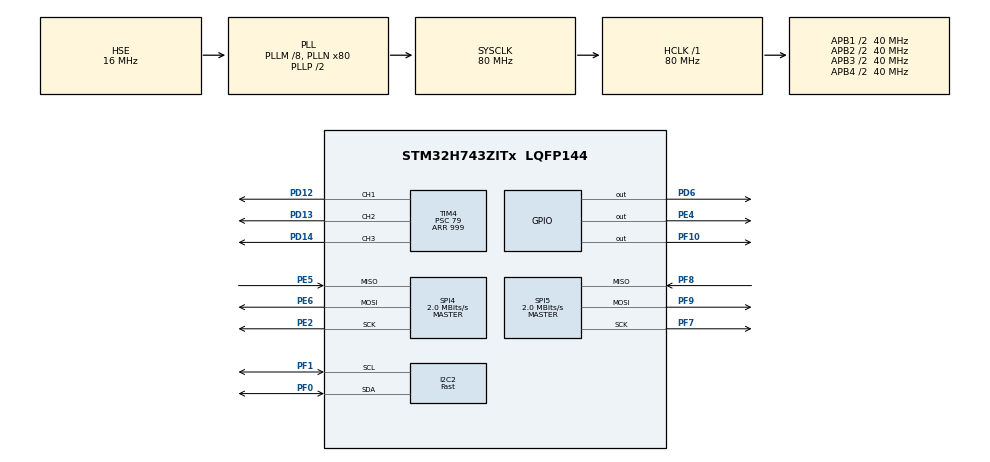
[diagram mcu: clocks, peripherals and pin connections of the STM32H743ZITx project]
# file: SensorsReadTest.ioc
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CORTEX_M7.default_mode_Activation=1
I2C2.I2C_Speed_Mode=I2C_Fast
I2C2.Timing=0x00000004
Mcu.Family=STM32H7
Mcu.Name=STM32H743ZITx
Mcu.Package=LQFP144
NVIC.PriorityGroup=NVIC_PRIORITYGROUP_4
PA13\ (JTMS/SWDIO).Mode=Trace_Asynchronous_SW
PA13\ (JTMS/SWDIO).Signal=DEBUG_JTMS-SWDIO
PA14\ (JTCK/SWCLK).Mode=Trace_Asynchronous_SW
PA14\ (JTCK/SWCLK).Signal=DEBUG_JTCK-SWCLK
PB3\ (JTDO/TRACESWO).Mode=Trace_Asynchronous_SW
PB3\ (JTDO/TRACESWO).Signal=DEBUG_JTDO-SWO
PD12.Signal=S_TIM4_CH1
PD13.Signal=S_TIM4_CH2
PD14.Signal=S_TIM4_CH3
PD6.Signal=GPIO_Output
PE2.Mode=Full_Duplex_Master
PE2.Signal=SPI4_SCK
PE4.GPIO_Speed=GPIO_SPEED_FREQ_MEDIUM
PE4.PinState=GPIO_PIN_SET
PE4.Signal=GPIO_Output
PE5.Mode=Full_Duplex_Master
PE5.Signal=SPI4_MISO
PE6.Mode=Full_Duplex_Master
PE6.Signal=SPI4_MOSI
PF0.GPIO_Speed=GPIO_SPEED_FREQ_VERY_HIGH
PF0.Mode=I2C
PF0.Signal=I2C2_SDA
PF1.GPIO_Speed=GPIO_SPEED_FREQ_VERY_HIGH
PF1.Mode=I2C
PF1.Signal=I2C2_SCL
PF10.GPIO_Speed=GPIO_SPEED_FREQ_MEDIUM
PF10.PinState=GPIO_PIN_SET
PF10.Signal=GPIO_Output
PF7.Mode=Full_Duplex_Master
PF7.Signal=SPI5_SCK
PF8.Mode=Full_Duplex_Master
PF8.Signal=SPI5_MISO
PF9.Mode=Full_Duplex_Master
PF9.Signal=SPI5_MOSI
PH0-OSC_IN\ (PH0).Mode=HSE-External-Oscillator
PH0-OSC_IN\ (PH0).Signal=RCC_OSC_IN
PH1-OSC_OUT\ (PH1).Mode=HSE-External-Oscillator
PH1-OSC_OUT\ (PH1).Signal=RCC_OSC_OUT
ProjectManager.HeapSize=0x200
ProjectManager.StackSize=0x400
ProjectManager.TargetToolchain=STM32CubeIDE
RCC.ADCFreq_Value=80000000
RCC.APB1Freq_Value=40000000
RCC.APB2Freq_Value=40000000
RCC.APB3Freq_Value=40000000
RCC.APB4Freq_Value=40000000
RCC.CortexFreq_Value=80000000
RCC.D1PPRE=RCC_APB3_DIV2
RCC.D2PPRE1=RCC_APB1_DIV2
RCC.D2PPRE2=RCC_APB2_DIV2
RCC.D3PPRE=RCC_APB4_DIV2
RCC.DIVM1=8
RCC.DIVM2=8
RCC.DIVM3=8
RCC.DIVN1=80
RCC.DIVN2=80
RCC.DIVN3=80
RCC.DIVQ2=40
RCC.DIVR3=40
RCC.HCLKFreq_Value=80000000
RCC.HSE_VALUE=16000000
RCC.I2C123CLockSelection=RCC_I2C123CLKSOURCE_PLL3
RCC.PLLSourceVirtual=RCC_PLLSOURCE_HSE
RCC.SYSCLKFreq_VALUE=80000000
RCC.SYSCLKSource=RCC_SYSCLKSOURCE_PLLCLK
RCC.Spi45ClockSelection=RCC_SPI45CLKSOURCE_PLL2
RCC.USBFreq_Value=80000000
SH.S_TIM4_CH1.0=TIM4_CH1,PWM Generation1 CH1
SH.S_TIM4_CH2.0=TIM4_CH2,PWM Generation2 CH2
SH.S_TIM4_CH3.0=TIM4_CH3,PWM Generation3 CH3
SPI4.CLKPhase=SPI_PHASE_2EDGE
SPI4.CLKPolarity=SPI_POLARITY_HIGH
SPI4.CalculateBaudRate=2.0 MBits/s
SPI4.DataSize=SPI_DATASIZE_8BIT
SPI4.Direction=SPI_DIRECTION_2LINES
SPI4.Mode=SPI_MODE_MASTER
SPI4.VirtualType=VM_MASTER
SPI5.CLKPhase=SPI_PHASE_1EDGE
SPI5.CLKPolarity=SPI_POLARITY_LOW
SPI5.CalculateBaudRate=2.0 MBits/s
SPI5.DataSize=SPI_DATASIZE_8BIT
SPI5.Direction=SPI_DIRECTION_2LINES
SPI5.Mode=SPI_MODE_MASTER
SPI5.VirtualType=VM_MASTER
TIM4.Channel-PWM\ Generation1\ CH1=TIM_CHANNEL_1
TIM4.Channel-PWM\ Generation2\ CH2=TIM_CHANNEL_2
TIM4.Channel-PWM\ Generation3\ CH3=TIM_CHANNEL_3
TIM4.OCMode_PWM-PWM\ Generation1\ CH1=TIM_OCMODE_PWM2
TIM4.OCMode_PWM-PWM\ Generation2\ CH2=TIM_OCMODE_PWM2
TIM4.OCMode_PWM-PWM\ Generation3\ CH3=TIM_OCMODE_PWM2
TIM4.Period=999
TIM4.Prescaler=79
VP_MEMORYMAP_VS_MEMORYMAP.Mode=CurAppReg
VP_TIM4_VS_ClockSourceINT.Mode=Internal
board=custom

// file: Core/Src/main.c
/* USER CODE BEGIN Header */
/**
  ******************************************************************************
  * @file           : main.c
  * @brief          : Main program body
  ******************************************************************************
  * @attention
  *
  * Copyright (c) 2026 STMicroelectronics.
  * All rights reserved.
  *
  * This software is licensed under terms that can be found in the LICENSE file
  * in the root directory of this software component.
  * If no LICENSE file comes with this software, it is provided AS-IS.
  *
  ******************************************************************************
  */
/* USER CODE END Header */
#include "main.h"

/* USER CODE BEGIN Includes */
#include <math.h>
#include <stdio.h>
#include "icm-40609-d.h"
#include "mmc5983ma.h"
#include "bmp388.h"

/* USER CODE END Includes */

I2C_HandleTypeDef hi2c2;

SPI_HandleTypeDef hspi4;
SPI_HandleTypeDef hspi5;

TIM_HandleTypeDef htim4;

/* USER CODE BEGIN PV */
// Define the imu wiring
ICM_Handle imu = {
    .hspi = &hspi5,
    .cs_port = GPIOF,
    .cs_pin = GPIO_PIN_10
};
ICM_Data imu_data; // Initialise the imu data struct
// Define the mag wiring
MMC5983_Handle mag = {
		.hspi = &hspi4,
		.cs_port = GPIOE,
		.cs_pin = GPIO_PIN_4
};
MMC5983_Data mag_data; // Initialise the mag data struct
// Define the bar wiring
BMP388_Handle bmp = {
    .hi2c     = &hi2c2,
    .dev_addr = BMP388_I2C_ADDR_SDO_HIGH,   /* SDO tied to VDDIO */
    .cfg = {
        .osr_p = BMP388_OSR_X8,
        .osr_t = BMP388_OSR_X1,
        .iir   = BMP388_IIR_3,    /* coeff 3 — good balance */
        .odr   = BMP388_ODR_25,   /* 25 Hz in normal mode   */
        .mode  = BMP388_MODE_NORMAL,
    },
};

/* USER CODE END PV */

void SystemClock_Config(void);
void PeriphCommonClock_Config(void);
static void MPU_Config(void);
static void MX_GPIO_Init(void);
static void MX_TIM4_Init(void);
static void MX_SPI5_Init(void);
static void MX_SPI4_Init(void);
static void MX_I2C2_Init(void);
/* USER CODE BEGIN PFP */

// RGB Led handling functions
void RGB_SetColor(uint16_t red, uint16_t green, uint16_t blue);
void RGB_Accel(ICM_Data *d);
void RGB_Gyro(ICM_Data *d);

/* USER CODE END PFP */

/* USER CODE BEGIN 0 */
// Reroute printf to ITM_SendChar to print variables through SWO (port 0)
int _write(int file, char *ptr, int len)
{
	for (int i = 0; i < len; i++)
	{
		ITM_SendChar(*ptr++);
	}
	return len;
}

// write to a defined ITM port
void ITM_PrintPort(uint8_t port, const char *str)
{
  if (((ITM->TCR & ITM_TCR_ITMENA_Msk) != 0UL) &&      /* ITM enabled */
      ((ITM->TER & (1UL << port)) != 0UL))              /* ITM Port #0 enabled */
  {
	  while (*str)
		  {
		    while (ITM->PORT[port].u32 == 0UL)
		    {
		      __NOP();
		    }
		    ITM->PORT[port].u8 = (uint8_t) *str++;
		  }
  }
}

/* USER CODE END 0 */

int main(void)
{

  /* MPU Configuration--------------------------------------------------------*/
  MPU_Config();

  /* MCU Configuration--------------------------------------------------------*/

  /* Reset of all peripherals, Initializes the Flash interface and the Systick. */
  HAL_Init();

  /* Configure the system clock */
  SystemClock_Config();

  /* Configure the peripherals common clocks */
  PeriphCommonClock_Config();

  /* Initialize all configured peripherals */
  MX_GPIO_Init();
  MX_TIM4_Init();
  MX_SPI5_Init();
  MX_SPI4_Init();
  MX_I2C2_Init();
  /* USER CODE BEGIN 2 */
  /*
  for (uint8_t addr = 1; addr < 128; addr++) {
        if (HAL_I2C_IsDeviceReady(&hi2c2, addr << 1, 2, 10) == HAL_OK)
            printf("[I2C SCAN] Device at 0x%02X\r\n", addr);
    }
*/
  // Initialize IMU
  if (icm_init(&imu) != ICM_OK) {
	  printf("[ICM-40609-D] INIT FAILED\r\n");
      HAL_GPIO_WritePin(GPIOD, GPIO_PIN_6, GPIO_PIN_SET);  // Turn on error LED
      Error_Handler();
  }
  // Initialize MAG
  if (!MMC5983_Init(&mag)) {
      printf("[MMC5983] INIT FAILED\r\n");
      HAL_GPIO_WritePin(GPIOD, GPIO_PIN_6, GPIO_PIN_SET);  // Turn on error LED
      Error_Handler();
  }
/*
  BMP388_Status st = BMP388_Init(&bmp);
    if (st != BMP388_OK) {
      uint32_t i2c_err = HAL_I2C_GetError(&hi2c2);
      printf("[BMP388] INIT FAILED status=%d i2c_err=0x%08lX\r\n", (int)st, i2c_err);
	  HAL_GPIO_WritePin(GPIOD, GPIO_PIN_6, GPIO_PIN_SET);  // Turn on error LED
	  Error_Handler();
  }
*/

  HAL_TIM_PWM_Start(&htim4, TIM_CHANNEL_1);  // Red
  HAL_TIM_PWM_Start(&htim4, TIM_CHANNEL_2);  // Green
  HAL_TIM_PWM_Start(&htim4, TIM_CHANNEL_3);  // Blue
  HAL_Delay(10);
  /* USER CODE END 2 */

  /* Infinite loop */
  /* USER CODE BEGIN WHILE */
  //char buf[32];

  while (1)
  {
    /* USER CODE END WHILE */

    /* USER CODE BEGIN 3 */
	icm_read_data(&imu, &imu_data);

	RGB_Accel(&imu_data);

	// Print on a port:
	//snprintf(buf, sizeof(buf), "ay: %d\r\n", imu_data.ay);
	//ITM_PrintPort(1, buf);

    //if (MMC5983_ReadData(&mag, &mag_data))
    //{
    //    printf("[MMC5983] X=%+7.3f G  Y=%+7.3f G  Z=%+7.3f G  T=%.1f C"
    //           "  (raw X=%lu Y=%lu Z=%lu)\r\n",
    //           mag_data.x_gauss, mag_data.y_gauss, mag_data.z_gauss,
	//		   mag_data.temp_celsius,
	//		   mag_data.raw_x,   mag_data.raw_y,   mag_data.raw_z);
	//
	//	/* ── Sanity checks ───────────────────────────────────────── */
        /* Earth's field is ~0.25–0.65 G.  Flag if totally out of range. */
    //  float magnitude = mag_data.x_gauss * mag_data.x_gauss
    //                  + mag_data.y_gauss * mag_data.y_gauss
    //                  + mag_data.z_gauss * mag_data.z_gauss;
        /* magnitude is |B|^2 here – sqrt not strictly needed for a range check */
    //  if (magnitude < 0.01f || magnitude > 1.0f) {
    //        printf("[MMC5983] WARNING: field magnitude out of expected range!\r\n");
    //    }
    //}
    //else
    //{
    //    printf("[MMC5983] Read error\r\n");
    //}

    HAL_Delay(10);

  }
  /* USER CODE END 3 */
}

void SystemClock_Config(void)
{
  RCC_OscInitTypeDef RCC_OscInitStruct = {0};
  RCC_ClkInitTypeDef RCC_ClkInitStruct = {0};

  /** Supply configuration update enable
  */
  HAL_PWREx_ConfigSupply(PWR_LDO_SUPPLY);

  /** Configure the main internal regulator output voltage
  */
  __HAL_PWR_VOLTAGESCALING_CONFIG(PWR_REGULATOR_VOLTAGE_SCALE3);

  while(!__HAL_PWR_GET_FLAG(PWR_FLAG_VOSRDY)) {}

  /** Initializes the RCC Oscillators according to the specified parameters
  * in the RCC_OscInitTypeDef structure.
  */
  RCC_OscInitStruct.OscillatorType = RCC_OSCILLATORTYPE_HSE;
  RCC_OscInitStruct.HSEState = RCC_HSE_ON;
  RCC_OscInitStruct.PLL.PLLState = RCC_PLL_ON;
  RCC_OscInitStruct.PLL.PLLSource = RCC_PLLSOURCE_HSE;
  RCC_OscInitStruct.PLL.PLLM = 8;
  RCC_OscInitStruct.PLL.PLLN = 80;
  RCC_OscInitStruct.PLL.PLLP = 2;
  RCC_OscInitStruct.PLL.PLLQ = 2;
  RCC_OscInitStruct.PLL.PLLR = 2;
  RCC_OscInitStruct.PLL.PLLRGE = RCC_PLL1VCIRANGE_1;
  RCC_OscInitStruct.PLL.PLLVCOSEL = RCC_PLL1VCOMEDIUM;
  RCC_OscInitStruct.PLL.PLLFRACN = 0;
  if (HAL_RCC_OscConfig(&RCC_OscInitStruct) != HAL_OK)
  {
    Error_Handler();
  }

  /** Initializes the CPU, AHB and APB buses clocks
  */
  RCC_ClkInitStruct.ClockType = RCC_CLOCKTYPE_HCLK|RCC_CLOCKTYPE_SYSCLK
                              |RCC_CLOCKTYPE_PCLK1|RCC_CLOCKTYPE_PCLK2
                              |RCC_CLOCKTYPE_D3PCLK1|RCC_CLOCKTYPE_D1PCLK1;
  RCC_ClkInitStruct.SYSCLKSource = RCC_SYSCLKSOURCE_PLLCLK;
  RCC_ClkInitStruct.SYSCLKDivider = RCC_SYSCLK_DIV1;
  RCC_ClkInitStruct.AHBCLKDivider = RCC_HCLK_DIV1;
  RCC_ClkInitStruct.APB3CLKDivider = RCC_APB3_DIV2;
  RCC_ClkInitStruct.APB1CLKDivider = RCC_APB1_DIV2;
  RCC_ClkInitStruct.APB2CLKDivider = RCC_APB2_DIV2;
  RCC_ClkInitStruct.APB4CLKDivider = RCC_APB4_DIV2;

  if (HAL_RCC_ClockConfig(&RCC_ClkInitStruct, FLASH_LATENCY_1) != HAL_OK)
  {
    Error_Handler();
  }
}

void PeriphCommonClock_Config(void)
{
  RCC_PeriphCLKInitTypeDef PeriphClkInitStruct = {0};

  /** Initializes the peripherals clock
  */
  PeriphClkInitStruct.PeriphClockSelection = RCC_PERIPHCLK_SPI4|RCC_PERIPHCLK_SPI5;
  PeriphClkInitStruct.PLL2.PLL2M = 8;
  PeriphClkInitStruct.PLL2.PLL2N = 80;
  PeriphClkInitStruct.PLL2.PLL2P = 2;
  PeriphClkInitStruct.PLL2.PLL2Q = 40;
  PeriphClkInitStruct.PLL2.PLL2R = 2;
  PeriphClkInitStruct.PLL2.PLL2RGE = RCC_PLL2VCIRANGE_1;
  PeriphClkInitStruct.PLL2.PLL2VCOSEL = RCC_PLL2VCOMEDIUM;
  PeriphClkInitStruct.PLL2.PLL2FRACN = 0;
  PeriphClkInitStruct.Spi45ClockSelection = RCC_SPI45CLKSOURCE_PLL2;
  if (HAL_RCCEx_PeriphCLKConfig(&PeriphClkInitStruct) != HAL_OK)
  {
    Error_Handler();
  }
}

static void MX_I2C2_Init(void)
{

  hi2c2.Instance = I2C2;
  hi2c2.Init.Timing = 0x00000004;
  hi2c2.Init.OwnAddress1 = 0;
  hi2c2.Init.AddressingMode = I2C_ADDRESSINGMODE_7BIT;
  hi2c2.Init.DualAddressMode = I2C_DUALADDRESS_DISABLE;
  hi2c2.Init.OwnAddress2 = 0;
  hi2c2.Init.OwnAddress2Masks = I2C_OA2_NOMASK;
  hi2c2.Init.GeneralCallMode = I2C_GENERALCALL_DISABLE;
  hi2c2.Init.NoStretchMode = I2C_NOSTRETCH_DISABLE;
  if (HAL_I2C_Init(&hi2c2) != HAL_OK)
  {
    Error_Handler();
  }

  /** Configure Analogue filter
  */
  if (HAL_I2CEx_ConfigAnalogFilter(&hi2c2, I2C_ANALOGFILTER_ENABLE) != HAL_OK)
  {
    Error_Handler();
  }

  /** Configure Digital filter
  */
  if (HAL_I2CEx_ConfigDigitalFilter(&hi2c2, 0) != HAL_OK)
  {
    Error_Handler();
  }

}

static void MX_SPI4_Init(void)
{

  /* SPI4 parameter configuration*/
  hspi4.Instance = SPI4;
  hspi4.Init.Mode = SPI_MODE_MASTER;
  hspi4.Init.Direction = SPI_DIRECTION_2LINES;
  hspi4.Init.DataSize = SPI_DATASIZE_8BIT;
  hspi4.Init.CLKPolarity = SPI_POLARITY_HIGH;
  hspi4.Init.CLKPhase = SPI_PHASE_2EDGE;
  hspi4.Init.NSS = SPI_NSS_SOFT;
  hspi4.Init.BaudRatePrescaler = SPI_BAUDRATEPRESCALER_2;
  hspi4.Init.FirstBit = SPI_FIRSTBIT_MSB;
  hspi4.Init.TIMode = SPI_TIMODE_DISABLE;
  hspi4.Init.CRCCalculation = SPI_CRCCALCULATION_DISABLE;
  hspi4.Init.CRCPolynomial = 0x0;
  hspi4.Init.NSSPMode = SPI_NSS_PULSE_ENABLE;
  hspi4.Init.NSSPolarity = SPI_NSS_POLARITY_LOW;
  hspi4.Init.FifoThreshold = SPI_FIFO_THRESHOLD_01DATA;
  hspi4.Init.TxCRCInitializationPattern = SPI_CRC_INITIALIZATION_ALL_ZERO_PATTERN;
  hspi4.Init.RxCRCInitializationPattern = SPI_CRC_INITIALIZATION_ALL_ZERO_PATTERN;
  hspi4.Init.MasterSSIdleness = SPI_MASTER_SS_IDLENESS_00CYCLE;
  hspi4.Init.MasterInterDataIdleness = SPI_MASTER_INTERDATA_IDLENESS_00CYCLE;
  hspi4.Init.MasterReceiverAutoSusp = SPI_MASTER_RX_AUTOSUSP_DISABLE;
  hspi4.Init.MasterKeepIOState = SPI_MASTER_KEEP_IO_STATE_DISABLE;
  hspi4.Init.IOSwap = SPI_IO_SWAP_DISABLE;
  if (HAL_SPI_Init(&hspi4) != HAL_OK)
  {
    Error_Handler();
  }

}

static void MX_SPI5_Init(void)
{

  /* SPI5 parameter configuration*/
  hspi5.Instance = SPI5;
  hspi5.Init.Mode = SPI_MODE_MASTER;
  hspi5.Init.Direction = SPI_DIRECTION_2LINES;
  hspi5.Init.DataSize = SPI_DATASIZE_8BIT;
  hspi5.Init.CLKPolarity = SPI_POLARITY_LOW;
  hspi5.Init.CLKPhase = SPI_PHASE_1EDGE;
  hspi5.Init.NSS = SPI_NSS_SOFT;
  hspi5.Init.BaudRatePrescaler = SPI_BAUDRATEPRESCALER_2;
  hspi5.Init.FirstBit = SPI_FIRSTBIT_MSB;
  hspi5.Init.TIMode = SPI_TIMODE_DISABLE;
  hspi5.Init.CRCCalculation = SPI_CRCCALCULATION_DISABLE;
  hspi5.Init.CRCPolynomial = 0x0;
  hspi5.Init.NSSPMode = SPI_NSS_PULSE_ENABLE;
  hspi5.Init.NSSPolarity = SPI_NSS_POLARITY_LOW;
  hspi5.Init.FifoThreshold = SPI_FIFO_THRESHOLD_01DATA;
  hspi5.Init.TxCRCInitializationPattern = SPI_CRC_INITIALIZATION_ALL_ZERO_PATTERN;
  hspi5.Init.RxCRCInitializationPattern = SPI_CRC_INITIALIZATION_ALL_ZERO_PATTERN;
  hspi5.Init.MasterSSIdleness = SPI_MASTER_SS_IDLENESS_00CYCLE;
  hspi5.Init.MasterInterDataIdleness = SPI_MASTER_INTERDATA_IDLENESS_00CYCLE;
  hspi5.Init.MasterReceiverAutoSusp = SPI_MASTER_RX_AUTOSUSP_DISABLE;
  hspi5.Init.MasterKeepIOState = SPI_MASTER_KEEP_IO_STATE_DISABLE;
  hspi5.Init.IOSwap = SPI_IO_SWAP_DISABLE;
  if (HAL_SPI_Init(&hspi5) != HAL_OK)
  {
    Error_Handler();
  }

}

static void MX_TIM4_Init(void)
{

  TIM_ClockConfigTypeDef sClockSourceConfig = {0};
  TIM_MasterConfigTypeDef sMasterConfig = {0};
  TIM_OC_InitTypeDef sConfigOC = {0};

  htim4.Instance = TIM4;
  htim4.Init.Prescaler = 79;
  htim4.Init.CounterMode = TIM_COUNTERMODE_UP;
  htim4.Init.Period = 999;
  htim4.Init.ClockDivision = TIM_CLOCKDIVISION_DIV1;
  htim4.Init.AutoReloadPreload = TIM_AUTORELOAD_PRELOAD_DISABLE;
  if (HAL_TIM_Base_Init(&htim4) != HAL_OK)
  {
    Error_Handler();
  }
  sClockSourceConfig.ClockSource = TIM_CLOCKSOURCE_INTERNAL;
  if (HAL_TIM_ConfigClockSource(&htim4, &sClockSourceConfig) != HAL_OK)
  {
    Error_Handler();
  }
  if (HAL_TIM_PWM_Init(&htim4) != HAL_OK)
  {
    Error_Handler();
  }
  sMasterConfig.MasterOutputTrigger = TIM_TRGO_RESET;
  sMasterConfig.MasterSlaveMode = TIM_MASTERSLAVEMODE_DISABLE;
  if (HAL_TIMEx_MasterConfigSynchronization(&htim4, &sMasterConfig) != HAL_OK)
  {
    Error_Handler();
  }
  sConfigOC.OCMode = TIM_OCMODE_PWM2;
  sConfigOC.Pulse = 0;
  sConfigOC.OCPolarity = TIM_OCPOLARITY_HIGH;
  sConfigOC.OCFastMode = TIM_OCFAST_DISABLE;
  if (HAL_TIM_PWM_ConfigChannel(&htim4, &sConfigOC, TIM_CHANNEL_1) != HAL_OK)
  {
    Error_Handler();
  }
  if (HAL_TIM_PWM_ConfigChannel(&htim4, &sConfigOC, TIM_CHANNEL_2) != HAL_OK)
  {
    Error_Handler();
  }
  if (HAL_TIM_PWM_ConfigChannel(&htim4, &sConfigOC, TIM_CHANNEL_3) != HAL_OK)
  {
    Error_Handler();
  }
  HAL_TIM_MspPostInit(&htim4);

}

static void MX_GPIO_Init(void)
{
  GPIO_InitTypeDef GPIO_InitStruct = {0};

  /* GPIO Ports Clock Enable */
  __HAL_RCC_GPIOE_CLK_ENABLE();
  __HAL_RCC_GPIOF_CLK_ENABLE();
  __HAL_RCC_GPIOH_CLK_ENABLE();
  __HAL_RCC_GPIOD_CLK_ENABLE();
  __HAL_RCC_GPIOA_CLK_ENABLE();
  __HAL_RCC_GPIOB_CLK_ENABLE();

  /*Configure GPIO pin Output Level */
  HAL_GPIO_WritePin(GPIOE, GPIO_PIN_4, GPIO_PIN_SET);

  /*Configure GPIO pin Output Level */
  HAL_GPIO_WritePin(GPIOF, GPIO_PIN_10, GPIO_PIN_SET);

  /*Configure GPIO pin Output Level */
  HAL_GPIO_WritePin(GPIOD, GPIO_PIN_6, GPIO_PIN_RESET);

  /*Configure GPIO pin : PE4 */
  GPIO_InitStruct.Pin = GPIO_PIN_4;
  GPIO_InitStruct.Mode = GPIO_MODE_OUTPUT_PP;
  GPIO_InitStruct.Pull = GPIO_NOPULL;
  GPIO_InitStruct.Speed = GPIO_SPEED_FREQ_MEDIUM;
  HAL_GPIO_Init(GPIOE, &GPIO_InitStruct);

  /*Configure GPIO pin : PF10 */
  GPIO_InitStruct.Pin = GPIO_PIN_10;
  GPIO_InitStruct.Mode = GPIO_MODE_OUTPUT_PP;
  GPIO_InitStruct.Pull = GPIO_NOPULL;
  GPIO_InitStruct.Speed = GPIO_SPEED_FREQ_MEDIUM;
  HAL_GPIO_Init(GPIOF, &GPIO_InitStruct);

  /*Configure GPIO pin : PD6 */
  GPIO_InitStruct.Pin = GPIO_PIN_6;
  GPIO_InitStruct.Mode = GPIO_MODE_OUTPUT_PP;
  GPIO_InitStruct.Pull = GPIO_NOPULL;
  GPIO_InitStruct.Speed = GPIO_SPEED_FREQ_LOW;
  HAL_GPIO_Init(GPIOD, &GPIO_InitStruct);

}

/* USER CODE BEGIN 4 */

void RGB_SetColor(uint16_t red, uint16_t green, uint16_t blue)
{
    __HAL_TIM_SET_COMPARE(&htim4, TIM_CHANNEL_1, red);
    __HAL_TIM_SET_COMPARE(&htim4, TIM_CHANNEL_2, green);
    __HAL_TIM_SET_COMPARE(&htim4, TIM_CHANNEL_3, blue);
}

void RGB_Accel(ICM_Data *d)
{
    // convert to g, take absolute value, clamp to 0-1g, scale to 0-999
    float ax = fabsf((float)d->ax / ICM_ACCEL_SENS_8G);
    float ay = fabsf((float)d->ay / ICM_ACCEL_SENS_8G);
    float az = fabsf((float)d->az / ICM_ACCEL_SENS_8G);

    // clamp to 0-1g
    if (ax > 1.0f) ax = 1.0f;
    if (ay > 1.0f) ay = 1.0f;
    if (az > 1.0f) az = 1.0f;

    // Scale to 0-999
    uint16_t red_intensity   = (uint16_t)(ax * 999.0f);
    uint16_t green_intensity = (uint16_t)(ay * 999.0f);
    uint16_t blue_intensity  = (uint16_t)(az * 999.0f);

	RGB_SetColor(red_intensity, green_intensity, blue_intensity);
}

void RGB_Gyro(ICM_Data *d)
{
    // convert to g, take absolute value
    float gx = fabsf((float)d->gx / ICM_GYRO_SENS_2000);
    float gy = fabsf((float)d->gy / ICM_GYRO_SENS_2000);
    float gz = fabsf((float)d->gz / ICM_GYRO_SENS_2000);

    // clamp to 0-180dps
    if (gx > 360.0f) gx = 360.0f;
    if (gy > 360.0f) gy = 360.0f;
    if (gz > 360.0f) gz = 360.0f;

    if (gx < 5.0f) gx = 0.0f;
    if (gy < 5.0f) gy = 0.0f;
    if (gz < 5.0f) gz = 0.0f;

    // Scale to 0-999
    uint16_t red_intensity   = (uint16_t)(gx/360.0f * 999.0f);
    uint16_t green_intensity = (uint16_t)(gy/360.0f * 999.0f);
    uint16_t blue_intensity  = (uint16_t)(gz/360.0f * 999.0f);

	RGB_SetColor(red_intensity, green_intensity, blue_intensity);
}
/* USER CODE END 4 */

 /* MPU Configuration */

void MPU_Config(void)
{
  MPU_Region_InitTypeDef MPU_InitStruct = {0};

  /* Disables the MPU */
  HAL_MPU_Disable();

  /** Initializes and configures the Region and the memory to be protected
  */
  MPU_InitStruct.Enable = MPU_REGION_ENABLE;
  MPU_InitStruct.Number = MPU_REGION_NUMBER0;
  MPU_InitStruct.BaseAddress = 0x0;
  MPU_InitStruct.Size = MPU_REGION_SIZE_4GB;
  MPU_InitStruct.SubRegionDisable = 0x87;
  MPU_InitStruct.TypeExtField = MPU_TEX_LEVEL0;
  MPU_InitStruct.AccessPermission = MPU_REGION_NO_ACCESS;
  MPU_InitStruct.DisableExec = MPU_INSTRUCTION_ACCESS_DISABLE;
  MPU_InitStruct.IsShareable = MPU_ACCESS_SHAREABLE;
  MPU_InitStruct.IsCacheable = MPU_ACCESS_NOT_CACHEABLE;
  MPU_InitStruct.IsBufferable = MPU_ACCESS_NOT_BUFFERABLE;

  HAL_MPU_ConfigRegion(&MPU_InitStruct);
  /* Enables the MPU */
  HAL_MPU_Enable(MPU_PRIVILEGED_DEFAULT);

}

void Error_Handler(void)
{
  __disable_irq();
  while (1)
  {
  }
}
